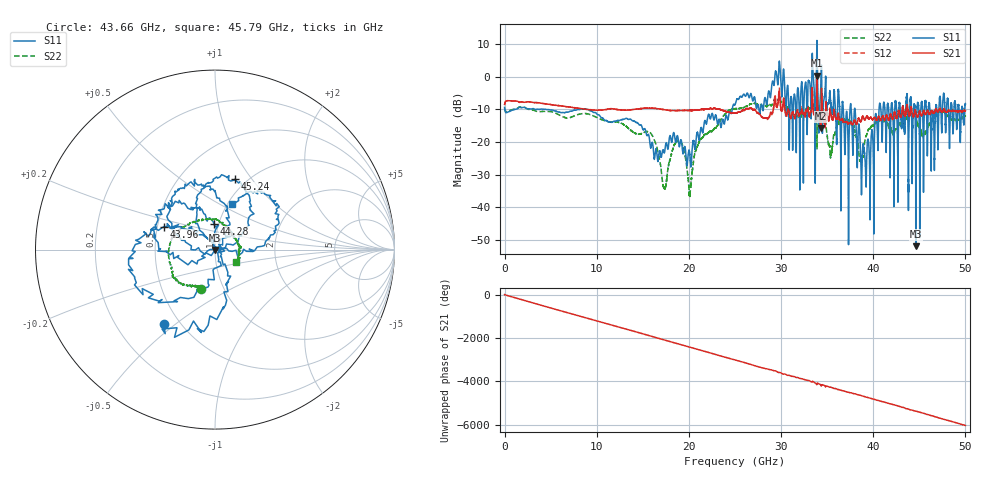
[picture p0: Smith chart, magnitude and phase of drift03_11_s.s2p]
!Created with skrf (http://scikit-rf.org).
# Hz S RI R 50.0
!freq ReS11 ImS11 ReS21 ImS21 ReS12 ImS12 ReS22 ImS22
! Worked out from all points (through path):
!   10001 points, 300 kHz to 50 GHz, reference 50 ohm
!   highest |S21| = 0.34 dB at 33.9 GHz (marker M1); lowest = -15.8 dB at 34.32 GHz (marker M2)
!   group delay of S21, straight-line fit = 335 ps
!   lowest |S11| = -52.0 dB at 44.62 GHz (marker M3), VSWR 1.01, Z = 50 - j0.25 ohm
!   |S11| at or under -10 dB: 4.476 GHz to 7.926 GHz (3.45 GHz wide, 55.6 % of centre); 9.017 GHz to 24.7 GHz (15.68 GHz wide, 93 % of centre); 38.03 GHz to 40.63 GHz (2.604 GHz wide, 6.62 % of centre) (the widest 3 of 65)
!   |S22| runs from -37.0 to -5.9 dB; largest |S21 - S12| = 0.11
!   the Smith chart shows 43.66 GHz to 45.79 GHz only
!   S11 on the Smith chart (normalised r, x): 43.66 GHz: 0.41, -0.45; 43.96 GHz: 0.54, +0.15; 44.28 GHz: 0.95, +0.28; 45.24 GHz: 0.88, +0.83; 45.79 GHz: 1.06, +0.57
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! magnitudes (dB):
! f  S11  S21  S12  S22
! 300 kHz  -9.4  -8.5  -8.5  -9.4
! 8.335 GHz  -9.9  -9.8  -9.8  -11.3
! 16.67 GHz  -25.5  -9.8  -9.8  -23.5
! 17.36 GHz  -23.1  -10.1  -10.1  -34.5
! 19.04 GHz  -20.3  -10.4  -10.4  -19.9
! 20.11 GHz  -24.0  -10.3  -10.3  -35.3
! 21.19 GHz  -17.9  -10.1  -10.1  -19.5
! 25 GHz  -8.6  -11.1  -11.1  -9.8
! 29.66 GHz  -2.4  -8.3  -8.4  -7.2
! 31.08 GHz  -6.1  -12.7  -12.7  -10.5
! 33.34 GHz  0.4  -7.6  -7.7  -9.5
! 33.9 GHz  11.2  0.3  -0.2  -22.1
! 34.32 GHz  -2.8  -15.8  -15.1  -11.3
! 38.96 GHz  -21.4  -12.6  -12.6  -23.1
! 41.67 GHz  -9.8  -13.3  -13.3  -14.7
! 43.66 GHz  -6.0  -8.7  -8.8  -12.5
! 43.96 GHz  -10.1  -11.7  -11.8  -11.3
! 44.28 GHz  -16.8  -11.8  -11.9  -11.7
! 44.62 GHz  -52.0  -10.8  -10.8  -12.8
! 45.24 GHz  -7.8  -11.8  -11.9  -17.1
! 45.79 GHz  -11.4  -11.0  -11.0  -17.1
! 50 GHz  -8.4  -10.4  -10.4  -12.0
